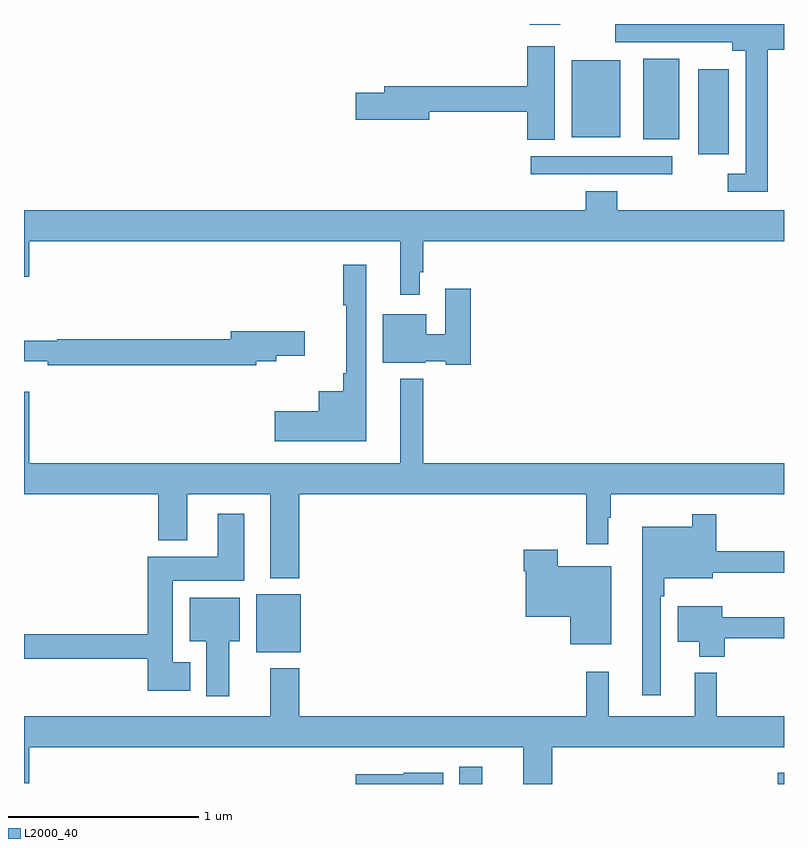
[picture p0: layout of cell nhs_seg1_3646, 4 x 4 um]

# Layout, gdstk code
import gdstk
lib = gdstk.Library(unit=1e-6, precision=1e-09)
def R(c, l, rs):  # rectangles x0, y0, x1, y1
    for r in rs: c.add(gdstk.rectangle(r[:2], r[2:], *l))
def P(c, l, *ps):  # polygons
    for p in ps: c.add(gdstk.Polygon(p, *l))
L2000_40 = (2000, 40)

nhs_seg1_3646 = lib.new_cell('nhs_seg1_3646')
R(nhs_seg1_3646, L2000_40, [(311.291,558.199,311.413,558.289), (312.966,558.199,313,558.259), (310.223,558.893,310.456,559.198), (311.667,561.408,312.412,561.504), (312.548,561.513,312.709,561.961), (312.26,561.593,312.448,562.015), (311.882,561.602,312.139,562.009), (311.663,562.194,311.823,562.199)])
P(nhs_seg1_3646, L2000_40, [(312.914,562.064),(313,562.064),(313,562.198),(312.895,562.198),(312.895,562.199),(312.112,562.199),(312.112,562.104),(312.728,562.104),(312.728,562.058),(312.798,562.058),(312.798,561.411),(312.705,561.411),(312.705,561.315),(312.914,561.315)],
  [(311.794,562.081),(311.648,562.081),(311.648,561.872),(310.895,561.872),(310.895,561.836),(310.746,561.836),(310.746,561.694),(311.134,561.694),(311.134,561.736),(311.648,561.736),(311.648,561.589),(311.794,561.589)],
  [(311.083,560.893),(311.101,560.893),(311.101,561.056),(313,561.056),(313,561.22),(312.122,561.22),(312.122,561.319),(311.957,561.319),(311.957,561.22),(309,561.22),(309,560.868),(309.028,560.868),(309.028,561.056),(310.979,561.056),(310.979,560.775),(311.083,560.775)],
  [(310.801,560.932),(310.68,560.932),(310.68,560.719),(310.697,560.719),(310.697,560.362),(310.68,560.362),(310.68,560.266),(310.55,560.266),(310.55,560.161),(310.32,560.161),(310.32,560.003),(310.801,560.003)],
  [(311.351,560.806),(311.216,560.806),(311.216,560.565),(311.116,560.565),(311.116,560.671),(310.889,560.671),(310.889,560.417),(311.112,560.417),(311.112,560.423),(311.22,560.423),(311.22,560.405),(311.351,560.405)],
  [(310.223,560.423),(310.327,560.423),(310.327,560.453),(310.477,560.453),(310.477,560.583),(310.088,560.583),(310.088,560.54),(309.175,560.54),(309.175,560.533),(309,560.533),(309,560.423),(309.124,560.423),(309.124,560.404),(310.223,560.404)],
  [(310.448,559.724),(311.959,559.724),(311.959,559.461),(312.076,559.461),(312.076,559.601),(312.088,559.601),(312.088,559.724),(313,559.724),(313,559.888),(311.101,559.888),(311.101,560.332),(310.979,560.332),(310.979,559.888),(309.028,559.888),(309.028,560.263),(309,560.263),(309,559.724),(309.707,559.724),(309.707,559.481),(309.859,559.481),(309.859,559.724),(310.295,559.724),(310.295,559.283),(310.448,559.283)],
  [(309.874,558.841),(309.784,558.841),(309.784,559.268),(310.159,559.268),(310.159,559.621),(310.019,559.621),(310.019,559.396),(309.65,559.396),(309.65,558.986),(309,558.986),(309,558.858),(309.65,558.858),(309.65,558.689),(309.874,558.689)],
  [(312.351,559.187),(312.371,559.187),(312.371,559.283),(312.625,559.283),(312.625,559.312),(313,559.312),(313,559.423),(312.644,559.423),(312.644,559.618),(312.516,559.618),(312.516,559.552),(312.254,559.552),(312.254,558.666),(312.351,558.666)],
  [(312.091,559.345),(311.808,559.345),(311.808,559.432),(311.63,559.432),(311.63,559.319),(311.642,559.319),(311.642,559.079),(311.876,559.079),(311.876,558.935),(312.091,558.935)],
  [(310.081,558.95),(310.135,558.95),(310.135,559.18),(309.872,559.18),(309.872,558.95),(309.959,558.95),(309.959,558.66),(310.081,558.66)],
  [(312.689,558.966),(313,558.966),(313,559.077),(312.676,559.077),(312.676,559.135),(312.44,559.135),(312.44,558.947),(312.554,558.947),(312.554,558.869),(312.689,558.869)],
  [(311.78,558.392),(313,558.392),(313,558.556),(312.647,558.556),(312.647,558.784),(312.53,558.784),(312.53,558.556),(312.077,558.556),(312.077,558.79),(311.959,558.79),(311.959,558.556),(310.448,558.556),(310.448,558.808),(310.295,558.808),(310.295,558.556),(309,558.556),(309,558.204),(309.028,558.204),(309.028,558.392),(311.627,558.392),(311.627,558.199),(311.78,558.199)],
  [(311.206,558.259),(310.998,558.259),(310.998,558.25),(310.746,558.25),(310.746,558.199),(311.206,558.199)])

lib.write_gds('nhs_seg1_3646.gds')
